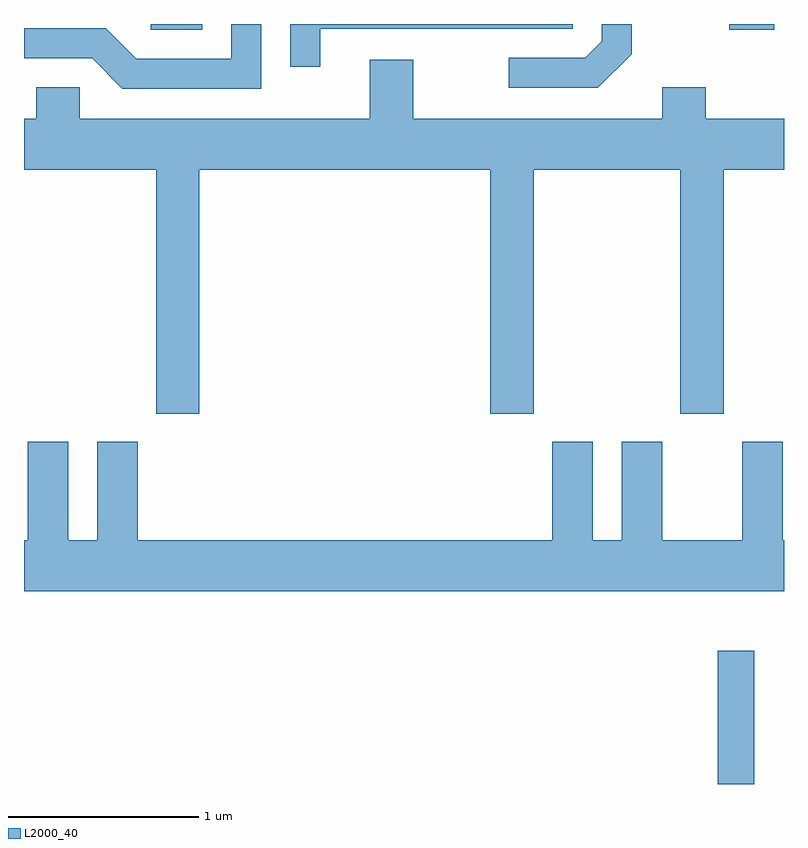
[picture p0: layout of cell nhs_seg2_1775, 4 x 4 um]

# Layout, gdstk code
import gdstk
lib = gdstk.Library(unit=1e-6, precision=1e-09)
def R(c, l, rs):  # rectangles x0, y0, x1, y1
    for r in rs: c.add(gdstk.rectangle(r[:2], r[2:], *l))
def P(c, l, *ps):  # polygons
    for p in ps: c.add(gdstk.Polygon(p, *l))
L2000_40 = (2000, 40)

nhs_seg2_1775 = lib.new_cell('nhs_seg2_1775')
R(nhs_seg2_1775, L2000_40, [(241.261,991.802,241.454,992.504), (238.278,995.771,238.549,995.802), (241.323,995.771,241.559,995.802)])
P(nhs_seg2_1775, L2000_40, [(240.809,995.644),(240.809,995.802),(240.651,995.802),(240.651,995.712),(240.564,995.624),(240.163,995.624),(240.163,995.466),(240.632,995.466)],
  [(239.169,995.776),(240.499,995.776),(240.499,995.802),(239.011,995.802),(239.011,995.578),(239.169,995.578)],
  [(238.859,995.802),(238.701,995.802),(238.701,995.619),(238.202,995.619),(238.042,995.779),(237.611,995.779),(237.611,995.621),(237.969,995.621),(238.129,995.461),(238.859,995.461)],
  [(238.534,995.036),(240.066,995.036),(240.066,993.751),(240.294,993.751),(240.294,995.036),(241.066,995.036),(241.066,993.751),(241.294,993.751),(241.294,995.036),(241.611,995.036),(241.611,995.304),(241.199,995.304),(241.199,995.469),(240.971,995.469),(240.971,995.304),(239.659,995.304),(239.659,995.614),(239.431,995.614),(239.431,995.304),(237.904,995.304),(237.904,995.469),(237.676,995.469),(237.676,995.304),(237.611,995.304),(237.611,995.036),(238.306,995.036),(238.306,993.751),(238.534,993.751)],
  [(241.611,993.084),(241.604,993.084),(241.604,993.604),(241.391,993.604),(241.391,993.084),(240.969,993.084),(240.969,993.604),(240.756,993.604),(240.756,993.084),(240.604,993.084),(240.604,993.604),(240.391,993.604),(240.391,993.084),(238.209,993.084),(238.209,993.604),(237.996,993.604),(237.996,993.084),(237.844,993.084),(237.844,993.604),(237.631,993.604),(237.631,993.084),(237.611,993.084),(237.611,992.816),(241.611,992.816)])

lib.write_gds('nhs_seg2_1775.gds')
